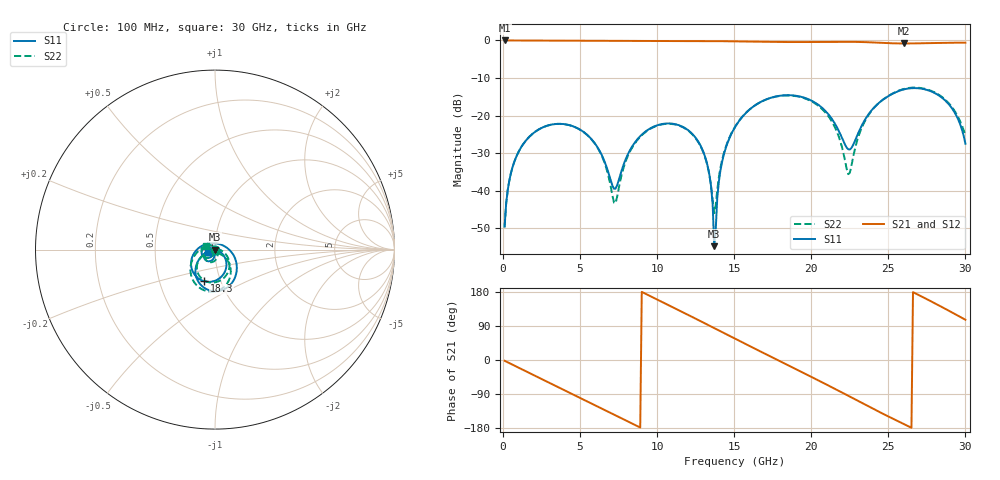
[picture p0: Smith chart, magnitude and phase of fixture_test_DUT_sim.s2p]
! Created Sun Feb 16 16:33:43 2025
! List of port names and net name(s): example Port n = <port_name> <net_name1> <net_name2> ...
! Port 1 = P1 P1
! Port 2 = P2 P1
# hz S ma R 50
! 2 Port Network Data from data block
! freq  magS11  angS11  magS21  angS21  magS12  angS12  magS22  angS22
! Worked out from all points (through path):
!   300 points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, 100 MHz to 30 GHz, reference 50 ohm
!   highest |S21| = 0.00 dB at 100 MHz (marker M1); lowest = -0.8 dB at 26 GHz (marker M2)
!   group delay of S21, straight-line fit = 56.7 ps
!   lowest |S11| = -54.8 dB at 13.7 GHz (marker M3), VSWR 1.00, Z = 49.8 + j0.0382 ohm
!   |S11| at or under -10 dB: start of sweep to end of sweep
!   |S22| runs from -49.6 to -12.5 dB; largest |S21 - S12| = 0
!   S11 on the Smith chart (normalised r, x): 100 MHz: 1.00, -0.01; 18.3 GHz: 0.84, -0.31; 30 GHz: 0.92, -0.02
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1e8  0.003315 -88.5  0.9997 -2.0  0.9997 -2.0  0.003315 -88.7
5e8  0.01677 -98.6  0.9988 -10.1  0.9988 -10.1  0.01677 -99.1
1.5e9  0.047 -119.0  0.9964 -30.2  0.9964 -30.2  0.04699 -120.6
5.1e9  0.06297 174.0  0.9901 -102.0  0.9901 -102.0  0.06282 163.4
6.4e9  0.0299 159.9  0.9897 -128.0  0.9897 -128.0  0.02917 129.7
7.3e9  0.01066 -137.9  0.9887 -146.1  0.9887 -146.1  0.006789 21.8
8.3e9  0.03653 -94.3  0.9865 -166.2  0.9865 -166.2  0.03518 -65.3
1.01e10  0.07529 -120.3  0.9818 157.6  0.9818 157.6  0.07442 -108.4
1.29e10  0.03653 -174.2  0.9805 100.8  0.9805 100.8  0.03585 -172.1
1.35e10  0.01126 173.5  0.9798 88.4  0.9798 88.4  0.01137 157.4
1.37e10  0.001823 167.9  0.9793 84.3  0.9793 84.3  0.005008 98.4
1.41e10  0.01826 -18.4  0.9779 76.0  0.9779 76.0  0.01986 5.0
1.51e10  0.07279 -39.6  0.9722 55.3  0.9722 55.3  0.07369 -26.9
1.83e10  0.1863 -108.8  0.9529 -10.0  0.9529 -10.0  0.1849 -96.4
2.01e10  0.1546 -149.8  0.9536 -46.5  0.9536 -46.5  0.1511 -131.6
2.15e10  0.0801 167.2  0.9587 -75.4  0.9587 -75.4  0.0722 -153.8
2.24e10  0.03548 91.4  0.9591 -94.4  0.9591 -94.4  0.01657 -104.4
2.35e10  0.08907 -6.7  0.9499 -117.9  0.9499 -117.9  0.08595 -39.6
2.51e10  0.1865 -52.2  0.9187 -151.0  0.9187 -151.0  0.1877 -65.7
2.6e10  0.2227 -72.8  0.9113 -168.8  0.9113 -168.8  0.2258 -83.7
2.86e10  0.165 -131.3  0.9288 137.1  0.9288 137.1  0.169 -144.0
3e10  0.04214 -163.5  0.9331 106.3  0.9331 106.3  0.05443 157.1
